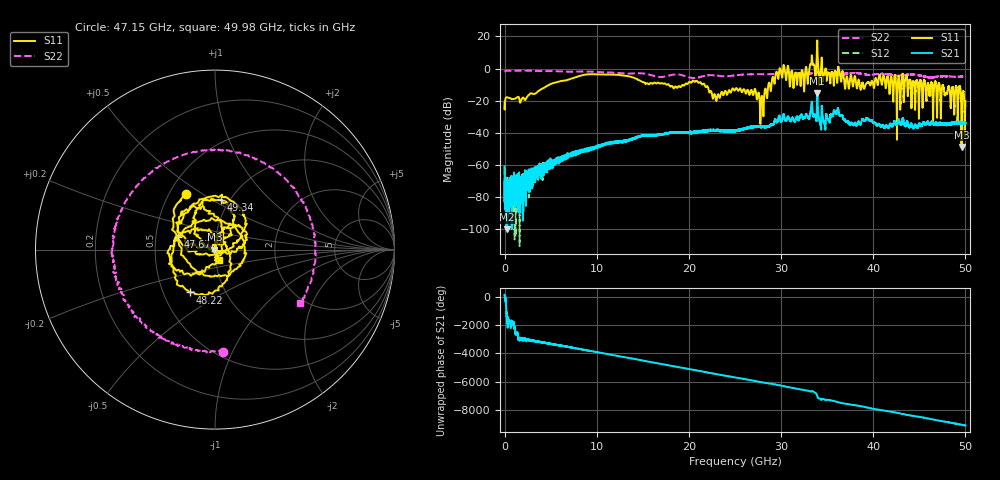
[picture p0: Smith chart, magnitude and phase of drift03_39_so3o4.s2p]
!Created with skrf (http://scikit-rf.org).
# Hz S RI R 50.0
!freq ReS11 ImS11 ReS21 ImS21 ReS12 ImS12 ReS22 ImS22
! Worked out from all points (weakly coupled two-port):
!   10001 points, 300 kHz to 50 GHz, reference 50 ohm
!   highest |S21| = -15.40 dB at 33.92 GHz (marker M1); lowest = -100.2 dB at 215.3 MHz (marker M2)
!   lowest |S11| = -48.9 dB at 49.58 GHz (marker M3), VSWR 1.01, Z = 49.6 - j0.0081 ohm
!   |S11| at or under -10 dB: start of sweep to 4.849 GHz; 21.69 GHz to 28.62 GHz (6.934 GHz wide, 27.6 % of centre); 47.19 GHz to end of sweep (the widest 3 of 45)
!   |S22| runs from -5.9 to -1.3 dB; largest |S21 - S12| = 0.019
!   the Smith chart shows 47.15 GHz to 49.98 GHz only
!   S11 on the Smith chart (normalised r, x): 47.15 GHz: 0.61, +0.43; 47.67 GHz: 0.65, +0.10; 48.22 GHz: 0.68, -0.35; 49.34 GHz: 0.92, +0.55; 49.98 GHz: 1.04, -0.13
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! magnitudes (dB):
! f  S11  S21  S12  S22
! 300 kHz  -21.5  -61.0  -61.8  -2.1
! 215.3 MHz  -17.9  -100.2  -72.3  -1.4
! 8.335 GHz  -4.3  -51.6  -51.8  -1.9
! 16.67 GHz  -8.8  -41.1  -41.3  -5.2
! 21.01 GHz  -8.7  -39.5  -39.6  -5.6
! 22.81 GHz  -16.1  -38.7  -38.5  -4.2
! 25 GHz  -13.4  -38.5  -38.7  -4.3
! 27.02 GHz  -15.7  -36.0  -36.1  -3.5
! 27.92 GHz  -17.1  -36.3  -36.4  -3.5
! 29.69 GHz  -6.4  -32.0  -31.6  -3.1
! 32.32 GHz  -1.5  -30.4  -30.6  -3.3
! 33.34 GHz  7.8  -20.8  -20.9  -2.9
! 33.92 GHz  17.5  -15.4  -15.7  -2.5
! 38.82 GHz  -8.9  -31.6  -31.8  -3.4
! 41.67 GHz  -9.0  -36.8  -36.5  -3.6
! 47.15 GHz  -9.1  -34.2  -34.3  -4.9
! 47.67 GHz  -13.3  -34.1  -33.9  -4.8
! 48.22 GHz  -11.2  -34.5  -34.1  -4.9
! 49.34 GHz  -11.1  -33.7  -33.9  -5.1
! 49.58 GHz  -48.9  -34.5  -34.2  -5.1
! 49.98 GHz  -23.8  -33.7  -34.0  -5.0
! 50 GHz  -20.2  -34.2  -33.5  -5.0
